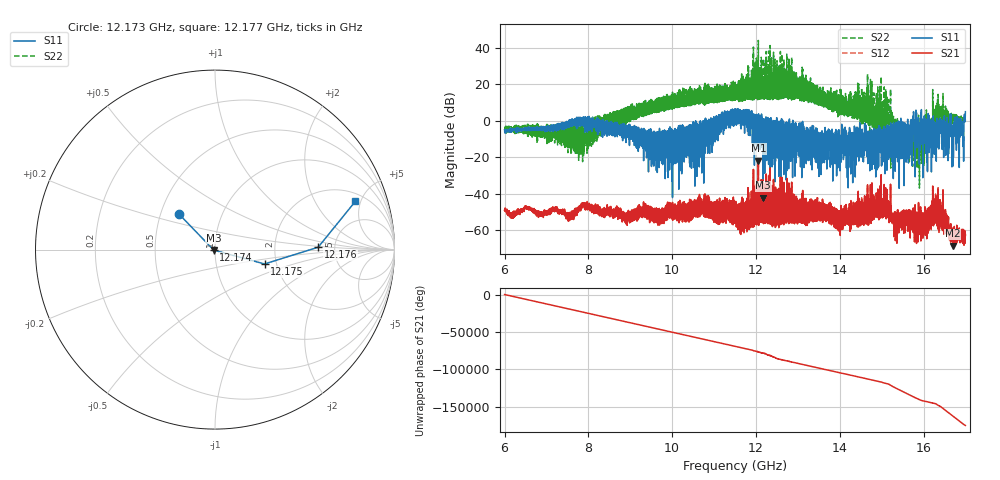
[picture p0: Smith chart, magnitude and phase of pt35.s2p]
#  HZ  S  RI  R  50.00
! Rohde & Schwarz Vector Network Analyzer
! Rohde-Schwarz,ZNA67-2Port,1332450062101215,3.01
! Created: UTC 10/15/2026, 3:59:52 PM
! freq[Hz]  re:S11  im:S11  re:S21  im:S21  re:S12  im:S12  re:S22  im:S22
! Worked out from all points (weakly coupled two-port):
!   11001 points, 6 GHz to 17 GHz, reference 50 ohm
!   highest |S21| = -21.76 dB at 12.057 GHz (marker M1); lowest = -68.5 dB at 16.698 GHz (marker M2)
!   lowest |S11| = -42.1 dB at 12.174 GHz (marker M3), VSWR 1.02, Z = 49.3 - j0.255 ohm
!   |S11| at or under -10 dB: 13.48055 GHz to 13.49692 GHz (16.36 MHz wide, 0.121 % of centre); 13.59805 GHz to 13.62496 GHz (26.91 MHz wide, 0.198 % of centre); 14.15675 GHz to 14.17432 GHz (17.57 MHz wide, 0.124 % of centre) (the widest 3 of 504)
!   |S22| runs from -36.8 to 44.1 dB; largest |S21 - S12| = 0.0023
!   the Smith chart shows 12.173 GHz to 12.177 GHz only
!   S11 on the Smith chart (normalised r, x): 12.173 GHz: 0.62, +0.27; 12.174 GHz: 0.99, -0.01; 12.175 GHz: 1.73, -0.30; 12.176 GHz: 3.70, +0.15; 12.177 GHz: 2.64, +4.49
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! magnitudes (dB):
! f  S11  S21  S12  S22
! 6 GHz  -5.0  -49.0  -49.0  -4.5
! 7.563 GHz  0.2  -51.5  -51.4  -1.9
! 7.834 GHz  -0.2  -46.4  -46.3  -0.6
! 9.667 GHz  -12.1  -51.1  -51.2  11.8
! 10.728 GHz  -6.8  -49.5  -49.4  10.4
! 11.5 GHz  6.3  -54.2  -54.2  12.7
! 12.057 GHz  -5.2  -21.8  -21.7  44.1
! 12.173 GHz  -11.0  -49.9  -50.1  16.5
! 12.174 GHz  -42.1  -32.3  -32.4  34.0
! 12.175 GHz  -10.8  -47.0  -47.0  19.0
! 12.176 GHz  -4.8  -51.5  -51.4  14.5
! 12.177 GHz  -1.6  -52.2  -52.3  14.2
! 12.768 GHz  -10.1  -55.0  -55.1  12.5
! 13.334 GHz  -7.7  -53.1  -52.7  12.6
! 13.996 GHz  -25.9  -56.9  -56.9  3.4
! 15.167 GHz  -9.8  -52.5  -52.6  1.3
! 15.969 GHz  -11.9  -55.3  -55.6  -6.0
! 16.233 GHz  0.2  -49.8  -50.0  1.4
! 16.391 GHz  -3.2  -55.5  -55.8  -2.0
! 16.698 GHz  -2.8  -68.5  -68.7  -1.8
! 16.905 GHz  -3.2  -61.9  -62.2  0.1
! 17 GHz  5.0  -62.8  -62.7  0.1
